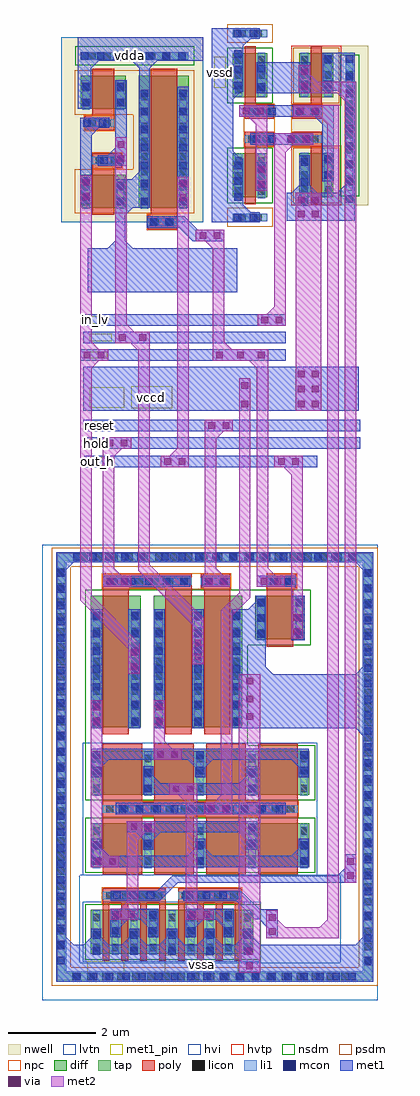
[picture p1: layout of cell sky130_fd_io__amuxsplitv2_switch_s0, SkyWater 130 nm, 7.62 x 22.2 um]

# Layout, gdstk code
from math import pi, radians
import gdstk
lib = gdstk.Library(unit=1e-6, precision=1e-09)
def R(c, l, rs):  # rectangles x0, y0, x1, y1
    for r in rs: c.add(gdstk.rectangle(r[:2], r[2:], *l))
def A(c, l, x, y, w, h, nx, ny, dx, dy):  # array of equal rectangles
    R(c, l, [(x+i*dx, y+j*dy, x+i*dx+w, y+j*dy+h) for i in range(nx) for j in range(ny)])
def P(c, l, *ps):  # polygons
    for p in ps: c.add(gdstk.Polygon(p, *l))
nwell = (64, 20)
diff = (65, 20)
tap = (65, 44)
poly = (66, 20)
licon = (66, 44)
li1 = (67, 20)
mcon = (67, 44)
met1_pin = (68, 16)
met1 = (68, 20)
via = (68, 44)
met2 = (69, 20)
hvi = (75, 20)
hvtp = (78, 44)
nsdm = (93, 44)
psdm = (94, 20)
npc = (95, 20)
lvtn = (125, 44)

dfl1sd_cdns_559591418081 = lib.new_cell('DFL1sd_CDNS_5595914180819')
R(dfl1sd_cdns_559591418081, diff, [(0,0,0.265,3)])
A(dfl1sd_cdns_559591418081, licon, 0.055, 0.06, 0.17, 0.17, 1, 8, 0, 0.34)
R(dfl1sd_cdns_559591418081, li1, [(0.055,-0.02,0.225,2.69)])
R(dfl1sd_cdns_559591418081, nsdm, [(-0.13,-0.13,0.395,3.13)])

nfet_cdns_5595914180818 = lib.new_cell('nfet_CDNS_5595914180818')
R(nfet_cdns_5595914180818, diff, [(-0.25,0,0,3), (0,0,0.6,3), (0.6,0,0.85,3)])
R(nfet_cdns_5595914180818, poly, [(0,-0.16,0.6,3.16), (0,-0.16,0.6,0), (0,3,0.6,3.16)])
R(nfet_cdns_5595914180818, li1, [(-0.225,-0.02,-0.055,2.69), (0.655,-0.02,0.825,2.69)])
R(nfet_cdns_5595914180818, hvi, [(-0.445,-0.18,1.045,3.18)])
R(nfet_cdns_5595914180818, nsdm, [(-0.25,-0.13,0.85,3.13)])
nfet_cdns_5595914180818.add(gdstk.Reference(dfl1sd_cdns_559591418081, (0.6,0)))
nfet_cdns_5595914180818.add(gdstk.Reference(dfl1sd_cdns_559591418081, (0,0), rotation=pi, x_reflection=True))
nfet_cdns_5595914180818.add(gdstk.Label('D', (0.74,1.335), layer=83, texttype=44))
nfet_cdns_5595914180818.add(gdstk.Label('S', (-0.14,1.335), layer=83, texttype=44))

c_dfl1sd_cdns_559591418081 = lib.new_cell('DFL1sd_CDNS_5595914180815')
R(c_dfl1sd_cdns_559591418081, diff, [(0,0,0.265,1)])
A(c_dfl1sd_cdns_559591418081, licon, 0.055, 0.06, 0.17, 0.17, 1, 3, 0, 0.34)
R(c_dfl1sd_cdns_559591418081, li1, [(0.055,-0.02,0.225,0.99)])
R(c_dfl1sd_cdns_559591418081, nsdm, [(-0.13,-0.13,0.395,1.13)])

dfl1sd2_cdns_55959141808 = lib.new_cell('DFL1sd2_CDNS_5595914180816')
R(dfl1sd2_cdns_55959141808, diff, [(0,0,0.28,1)])
A(dfl1sd2_cdns_55959141808, licon, 0.055, 0.06, 0.17, 0.17, 1, 3, 0, 0.34)
R(dfl1sd2_cdns_55959141808, li1, [(0.055,-0.02,0.225,0.99)])
R(dfl1sd2_cdns_55959141808, nsdm, [(-0.13,-0.13,0.41,1.13)])

nfet_cdns_5595914180820 = lib.new_cell('nfet_CDNS_5595914180820')
A(nfet_cdns_5595914180820, diff, 0, 0, 0.9, 1, 4, 1, 1.18, 0)
R(nfet_cdns_5595914180820, diff, [(-0.25,0,0,1), (4.44,0,4.69,1)])
A(nfet_cdns_5595914180820, poly, 0, -0.16, 0.9, 1.32, 4, 1, 1.18, 0)
A(nfet_cdns_5595914180820, poly, 0, -0.16, 0.9, 0.16, 4, 2, 1.18, 1.16)
A(nfet_cdns_5595914180820, li1, -0.225, -0.02, 0.17, 1.01, 5, 1, 1.18, 0)
R(nfet_cdns_5595914180820, hvi, [(-0.445,-0.18,4.885,1.18)])
A(nfet_cdns_5595914180820, nsdm, -0.25, -0.13, 1.15, 1.26, 3, 1, 1.18, 0)
R(nfet_cdns_5595914180820, nsdm, [(3.29,-0.13,4.69,1.13)])
R(nfet_cdns_5595914180820, lvtn, [(-0.445,-0.18,4.885,1.18)])
nfet_cdns_5595914180820.add(gdstk.Reference(c_dfl1sd_cdns_559591418081, (4.44,0)))
nfet_cdns_5595914180820.add(gdstk.Reference(c_dfl1sd_cdns_559591418081, (0,0), rotation=pi, x_reflection=True))
nfet_cdns_5595914180820.add(gdstk.Reference(dfl1sd2_cdns_55959141808, (3.26,0)))
nfet_cdns_5595914180820.add(gdstk.Reference(dfl1sd2_cdns_55959141808, (2.08,0)))
nfet_cdns_5595914180820.add(gdstk.Reference(dfl1sd2_cdns_55959141808, (0.9,0)))
nfet_cdns_5595914180820.add(gdstk.Label('S', (4.58,0.485), layer=83, texttype=44))
nfet_cdns_5595914180820.add(gdstk.Label('D', (3.4,0.485), layer=83, texttype=44))
nfet_cdns_5595914180820.add(gdstk.Label('S', (2.22,0.485), layer=83, texttype=44))
nfet_cdns_5595914180820.add(gdstk.Label('D', (1.04,0.485), layer=83, texttype=44))
nfet_cdns_5595914180820.add(gdstk.Label('S', (-0.14,0.485), layer=83, texttype=44))

nfet_cdns_5595914180821 = lib.new_cell('nfet_CDNS_5595914180821')
A(nfet_cdns_5595914180821, diff, 0, 0, 0.15, 1, 4, 1, 0.43, 0)
R(nfet_cdns_5595914180821, diff, [(-0.25,0,0,1), (1.44,0,1.69,1)])
A(nfet_cdns_5595914180821, poly, 0, -0.16, 0.15, 1.32, 4, 1, 0.43, 0)
A(nfet_cdns_5595914180821, poly, 0, -0.16, 0.15, 0.16, 4, 2, 0.43, 1.16)
A(nfet_cdns_5595914180821, li1, -0.225, -0.02, 0.17, 1.01, 5, 1, 0.43, 0)
A(nfet_cdns_5595914180821, nsdm, -0.25, -0.13, 0.4, 1.26, 3, 1, 0.43, 0)
R(nfet_cdns_5595914180821, nsdm, [(1.04,-0.13,1.69,1.13)])
R(nfet_cdns_5595914180821, lvtn, [(-0.445,-0.18,1.885,1.18)])
nfet_cdns_5595914180821.add(gdstk.Reference(c_dfl1sd_cdns_559591418081, (1.44,0)))
nfet_cdns_5595914180821.add(gdstk.Reference(c_dfl1sd_cdns_559591418081, (0,0), rotation=pi, x_reflection=True))
nfet_cdns_5595914180821.add(gdstk.Reference(dfl1sd2_cdns_55959141808, (1.01,0)))
nfet_cdns_5595914180821.add(gdstk.Reference(dfl1sd2_cdns_55959141808, (0.58,0)))
nfet_cdns_5595914180821.add(gdstk.Reference(dfl1sd2_cdns_55959141808, (0.15,0)))
nfet_cdns_5595914180821.add(gdstk.Label('S', (1.58,0.485), layer=83, texttype=44))
nfet_cdns_5595914180821.add(gdstk.Label('D', (1.15,0.485), layer=83, texttype=44))
nfet_cdns_5595914180821.add(gdstk.Label('S', (0.72,0.485), layer=83, texttype=44))
nfet_cdns_5595914180821.add(gdstk.Label('D', (0.29,0.485), layer=83, texttype=44))
nfet_cdns_5595914180821.add(gdstk.Label('S', (-0.14,0.485), layer=83, texttype=44))

dfl1sd_cdns_559591418082 = lib.new_cell('DFL1sd_CDNS_5595914180823')
R(dfl1sd_cdns_559591418082, nwell, [(-0.18,-0.18,0.445,0.93)])
R(dfl1sd_cdns_559591418082, diff, [(0,0,0.265,0.75)])
R(dfl1sd_cdns_559591418082, licon, [(0.055,0.06,0.225,0.23), (0.055,0.4,0.225,0.57)])
R(dfl1sd_cdns_559591418082, li1, [(0.055,-0.02,0.225,0.65)])
R(dfl1sd_cdns_559591418082, psdm, [(-0.13,-0.13,0.395,0.88)])

pfet_cdns_5595914180822 = lib.new_cell('pfet_CDNS_5595914180822')
R(pfet_cdns_5595914180822, nwell, [(-0.595,-0.33,1.095,1.08), (-0.445,-0.18,0.945,0.93)])
R(pfet_cdns_5595914180822, diff, [(-0.25,0,0,0.75), (0,0,0.5,0.75), (0.5,0,0.75,0.75)])
R(pfet_cdns_5595914180822, poly, [(0,-0.16,0.5,0.91), (0,-0.16,0.5,0), (0,0.75,0.5,0.91)])
R(pfet_cdns_5595914180822, li1, [(-0.225,-0.02,-0.055,0.65), (0.555,-0.02,0.725,0.65)])
R(pfet_cdns_5595914180822, hvi, [(-0.595,-0.33,1.095,1.08)])
R(pfet_cdns_5595914180822, psdm, [(-0.25,-0.13,0.75,0.88)])
pfet_cdns_5595914180822.add(gdstk.Reference(dfl1sd_cdns_559591418082, (0.5,0)))
pfet_cdns_5595914180822.add(gdstk.Reference(dfl1sd_cdns_559591418082, (0,0), rotation=pi, x_reflection=True))
pfet_cdns_5595914180822.add(gdstk.Label('D', (0.64,0.315), layer=83, texttype=44))
pfet_cdns_5595914180822.add(gdstk.Label('S', (-0.14,0.315), layer=83, texttype=44))

sky130_fd_io__amuxsplitv = lib.new_cell('sky130_fd_io__amuxsplitv2_switch_levelshifter1')
R(sky130_fd_io__amuxsplitv, nwell, [(0.185,17.44,3.305,21.645), (0.185,20.805,3.305,21.645)])
R(sky130_fd_io__amuxsplitv, tap, [(0.52,21.14,2.97,21.31)])
P(sky130_fd_io__amuxsplitv, tap, [(-0.01,0.5),(-0.01,0.2),(7.14,0.2),(7.14,9.91),(-0.01,9.91),(-0.01,0.5),(0.16,0.5),(0.16,9.74),(6.97,9.74),(6.97,0.37),(0.16,0.37),(0.16,0.5)])
R(sky130_fd_io__amuxsplitv, poly, [(1.015,1.96,2.455,2.29), (2.735,1.96,4.175,2.29), (1.015,3.93,5.455,4.26), (1.015,9.11,3.045,9.44), (3.255,9.11,3.925,9.44), (0.78,18.68,1.45,19.01), (0.61,19.53,1.28,19.86)])
A(sky130_fd_io__amuxsplitv, licon, 0.33, 0.2, 0.17, 0.17, 19, 1, 0.34, 0)
A(sky130_fd_io__amuxsplitv, licon, 6.97, 0.54, 0.17, 0.17, 1, 27, 0, 0.34)
A(sky130_fd_io__amuxsplitv, licon, -0.01, 0.9, 0.17, 0.17, 1, 26, 0, 0.34)
A(sky130_fd_io__amuxsplitv, licon, 1.095, 2.04, 0.17, 0.17, 4, 1, 0.37, 0)
A(sky130_fd_io__amuxsplitv, licon, 2.815, 2.04, 0.17, 0.17, 4, 1, 0.37, 0)
A(sky130_fd_io__amuxsplitv, licon, 1.095, 4.01, 0.17, 0.17, 7, 1, 0.34, 0)
A(sky130_fd_io__amuxsplitv, licon, 3.48, 4.01, 0.17, 0.17, 6, 1, 0.345, 0)
A(sky130_fd_io__amuxsplitv, licon, 1.095, 9.19, 0.17, 0.17, 6, 1, 0.34, 0)
A(sky130_fd_io__amuxsplitv, licon, 0.51, 9.74, 0.17, 0.17, 19, 1, 0.34, 0)
A(sky130_fd_io__amuxsplitv, licon, 0.69, 21.14, 0.17, 0.17, 6, 1, 0.34, 0)
R(sky130_fd_io__amuxsplitv, licon, [(3.335,9.19,3.505,9.36), (3.675,9.19,3.845,9.36), (0.86,18.76,1.03,18.93), (1.2,18.76,1.37,18.93), (0.69,19.61,0.86,19.78), (1.03,19.61,1.2,19.78)])
A(sky130_fd_io__amuxsplitv, li1, 0.79, 0.78, 0.17, 0.53, 5, 1, 0.86, 0)
A(sky130_fd_io__amuxsplitv, li1, 1.22, 1.24, 0.17, 0.53, 4, 1, 0.86, 0)
A(sky130_fd_io__amuxsplitv, li1, 0.79, 2.83, 0.17, 0.53, 3, 2, 2.36, 2.05)
R(sky130_fd_io__amuxsplitv, li1, [(1.015,2.04,2.455,2.21), (1.26,2.04,2.19,2.21), (2.735,2.04,4.175,2.21), (2.91,2.04,3.84,2.21), (1.97,3.23,2.14,3.76), (4.33,3.23,4.5,3.76), (1.015,4.01,5.455,4.18), (1.38,4.01,5.125,4.18), (1.97,4.48,2.14,5.01), (4.33,4.48,4.5,5.01), (0.79,5.99,0.96,8.58), (1.67,5.99,1.84,8.58), (2.22,5.99,2.39,8.58), (3.1,5.99,3.27,8.58), (3.1,5.99,3.27,8.58), (3.98,5.99,4.15,8.58), (1.015,9.19,3.045,9.36), (1.19,9.19,2.955,9.36), (3.255,9.19,3.925,9.36), (3.335,9.19,3.865,9.36), (1.335,17.83,1.505,18.36), (0.555,17.93,0.725,18.46), (0.78,18.76,1.45,18.93), (0.965,18.76,1.495,18.93), (0.61,19.61,1.28,19.78), (0.575,19.615,1.105,19.785), (0.555,20.08,0.725,20.61), (1.335,20.08,1.505,20.61), (0.52,21.14,2.97,21.31), (0.52,21.14,2.91,21.31)])
P(sky130_fd_io__amuxsplitv, li1, [(2.17,9.94),(-0.04,9.94),(-0.04,0.17),(7.17,0.17),(7.17,1.945),(6.94,1.945),(6.94,0.4),(0.19,0.4),(0.19,9.71),(2.17,9.71)],
  [(-0.01,0.5),(-0.01,0.2),(7.14,0.2),(7.14,9.91),(-0.01,9.91),(-0.01,0.5),(0.16,0.5),(0.16,9.74),(6.97,9.74),(6.97,0.37),(0.16,0.37),(0.16,0.5)],
  [(7.17,1.945),(7.17,9.94),(2.165,9.94),(2.165,9.71),(6.94,9.71),(6.94,1.945)])
A(sky130_fd_io__amuxsplitv, mcon, 0.35, 0.2, 0.17, 0.17, 11, 1, 0.37, 0)
A(sky130_fd_io__amuxsplitv, mcon, 4.415, 0.2, 0.17, 0.17, 7, 1, 0.365, 0)
A(sky130_fd_io__amuxsplitv, mcon, -0.01, 0.565, 0.17, 0.17, 1, 14, 0, 0.365)
A(sky130_fd_io__amuxsplitv, mcon, 0.79, 0.78, 0.17, 0.17, 5, 2, 0.86, 0.36)
A(sky130_fd_io__amuxsplitv, mcon, 1.22, 1.24, 0.17, 0.17, 4, 2, 0.86, 0.36)
A(sky130_fd_io__amuxsplitv, mcon, 1.26, 2.04, 0.17, 0.17, 3, 1, 0.38, 0)
A(sky130_fd_io__amuxsplitv, mcon, 2.91, 2.04, 0.17, 0.17, 3, 1, 0.38, 0)
A(sky130_fd_io__amuxsplitv, mcon, 6.97, 2.135, 0.17, 0.17, 1, 10, 0, 0.365)
A(sky130_fd_io__amuxsplitv, mcon, 0.79, 2.83, 0.17, 0.17, 3, 2, 2.36, 0.36)
A(sky130_fd_io__amuxsplitv, mcon, 1.38, 4.01, 0.17, 0.17, 6, 1, 0.395, 0)
A(sky130_fd_io__amuxsplitv, mcon, 3.755, 4.01, 0.17, 0.17, 4, 1, 0.4, 0)
A(sky130_fd_io__amuxsplitv, mcon, 0.79, 4.88, 0.17, 0.17, 3, 2, 2.36, 0.36)
A(sky130_fd_io__amuxsplitv, mcon, -0.01, 5.68, 0.17, 0.17, 1, 11, 0, 0.37)
A(sky130_fd_io__amuxsplitv, mcon, 6.97, 5.78, 0.17, 0.17, 1, 11, 0, 0.36)
A(sky130_fd_io__amuxsplitv, mcon, 0.79, 5.99, 0.17, 0.17, 1, 3, 0, 0.4)
A(sky130_fd_io__amuxsplitv, mcon, 1.67, 5.99, 0.17, 0.17, 1, 3, 0, 0.4)
A(sky130_fd_io__amuxsplitv, mcon, 2.22, 5.99, 0.17, 0.17, 1, 3, 0, 0.4)
A(sky130_fd_io__amuxsplitv, mcon, 3.98, 5.99, 0.17, 0.17, 1, 3, 0, 0.4)
A(sky130_fd_io__amuxsplitv, mcon, 0.79, 7.195, 0.17, 0.17, 1, 4, 0, 0.405)
A(sky130_fd_io__amuxsplitv, mcon, 1.67, 7.195, 0.17, 0.17, 1, 4, 0, 0.405)
A(sky130_fd_io__amuxsplitv, mcon, 2.22, 7.195, 0.17, 0.17, 1, 4, 0, 0.405)
A(sky130_fd_io__amuxsplitv, mcon, 3.98, 7.195, 0.17, 0.17, 1, 4, 0, 0.405)
A(sky130_fd_io__amuxsplitv, mcon, 1.585, 9.19, 0.17, 0.17, 4, 1, 0.4, 0)
A(sky130_fd_io__amuxsplitv, mcon, 0.35, 9.74, 0.17, 0.17, 5, 1, 0.365, 0)
A(sky130_fd_io__amuxsplitv, mcon, 2.355, 9.74, 0.17, 0.17, 8, 1, 0.385, 0)
A(sky130_fd_io__amuxsplitv, mcon, 5.44, 9.74, 0.17, 0.17, 4, 1, 0.39, 0)
A(sky130_fd_io__amuxsplitv, mcon, 0.52, 21.14, 0.17, 0.17, 7, 1, 0.37, 0)
R(sky130_fd_io__amuxsplitv, mcon, [(6.97,0.56,7.14,0.73), (6.97,1.075,7.14,1.245), (6.97,1.585,7.14,1.755), (1.97,3.23,2.14,3.4), (4.33,3.23,4.5,3.4), (1.97,3.59,2.14,3.76), (4.33,3.59,4.5,3.76), (1.97,4.48,2.14,4.65), (4.33,4.48,4.5,4.65), (1.97,4.84,2.14,5.01), (4.33,4.84,4.5,5.01), (3.1,5.99,3.27,6.16), (3.1,5.99,3.27,6.16), (3.1,6.39,3.27,6.56), (3.1,6.39,3.27,6.56), (3.1,6.79,3.27,6.96), (3.1,6.79,3.27,6.96), (3.1,7.195,3.27,7.365), (3.1,7.195,3.27,7.365), (3.1,7.6,3.27,7.77), (3.1,7.6,3.27,7.77), (3.1,8.005,3.27,8.175), (3.1,8.005,3.27,8.175), (3.1,8.41,3.27,8.58), (3.1,8.41,3.27,8.58), (1.19,9.19,1.36,9.36), (3.335,9.19,3.505,9.36), (3.695,9.19,3.865,9.36), (1.335,17.83,1.505,18), (0.555,17.93,0.725,18.1), (1.335,18.19,1.505,18.36), (0.555,18.29,0.725,18.46), (0.965,18.76,1.135,18.93), (1.325,18.76,1.495,18.93), (0.575,19.615,0.745,19.785), (0.935,19.615,1.105,19.785), (0.555,20.08,0.725,20.25), (1.335,20.08,1.505,20.25), (0.555,20.44,0.725,20.61), (1.335,20.44,1.505,20.61)])
R(sky130_fd_io__amuxsplitv, met1_pin, [(0.665,0.335,1.505,0.635), (3.185,2.06,3.66,2.185), (1.39,2.065,1.965,2.2), (0.715,12.32,1.035,12.505), (0.73,12.735,1.185,12.905), (0.73,13.22,1.505,13.69), (0.72,14.35,1.125,14.5), (0.72,14.735,1.22,14.9), (0.675,21.17,1.14,21.295)])
A(sky130_fd_io__amuxsplitv, met1, 0.76, 0.72, 0.23, 0.65, 5, 1, 0.86, 0)
A(sky130_fd_io__amuxsplitv, met1, 1.19, 1.18, 0.23, 0.65, 4, 1, 0.86, 0)
A(sky130_fd_io__amuxsplitv, met1, 0.76, 2.77, 0.23, 0.65, 3, 2, 2.36, 2.05)
R(sky130_fd_io__amuxsplitv, met1, [(0.17,0.17,7.17,1.01), (1.19,1.57,1.83,1.83), (2.91,1.57,3.55,1.83), (1.2,2.01,2.25,2.24), (2.85,2.01,3.9,2.24), (0.76,2.77,1.4,3.03), (1.94,3.17,2.17,3.82), (4.3,3.17,4.53,3.82), (1.57,3.56,2.21,3.82), (1.32,3.975,5.185,4.235), (3.33,3.975,3.97,4.235), (1.32,3.98,5.185,4.21), (1.94,4.42,2.17,5.07), (2.53,4.42,3.17,4.68), (4.3,4.42,4.53,5.07), (2.175,5.21,2.815,5.47), (0.745,5.93,1.005,6.57), (0.76,5.93,0.99,8.64), (1.605,5.93,1.87,8.64), (1.64,5.93,1.87,8.64), (2.175,5.93,2.435,6.57), (2.19,5.93,2.42,8.64), (3.055,5.93,3.315,8.64), (3.07,5.93,3.3,8.64), (3.07,5.93,3.3,8.64), (3.95,5.93,4.18,8.64), (4.115,5.93,6.97,7.165), (0.745,6.445,1.005,8.64), (2.175,6.445,2.435,8.64), (1.605,7.175,1.865,7.815), (3.055,7.39,3.315,8.03), (1.025,9.145,1.665,9.405), (1.205,9.145,3.015,9.405), (3.275,9.145,3.925,9.405), (3.285,9.145,3.925,9.405), (1.13,9.16,3.015,9.39), (3.275,9.16,3.925,9.39), (0.58,12.29,5.185,12.55), (1.025,12.29,1.665,12.55), (0.58,12.69,5.185,12.95), (3.34,12.69,3.98,12.95), (0.58,13.15,5.185,14.15), (4.12,13.15,4.38,13.89), (0.505,14.29,1.145,14.55), (0.505,14.29,5.185,14.55), (0.58,14.69,5.185,14.95), (1.305,14.69,2.09,14.95), (0.685,15.845,4.085,16.845), (1.305,16.485,1.535,17.81), (1.305,17.77,1.535,18.42), (0.505,17.865,0.765,18.505), (0.525,17.87,0.755,18.52), (0.905,18.73,1.555,18.96), (1.305,18.73,1.565,19.37), (0.515,19.585,1.165,19.815), (0.525,20.02,0.755,20.67), (1.305,20.02,1.535,20.67), (0.46,21.11,2.97,21.34)])
P(sky130_fd_io__amuxsplitv, met1, [(7.17,1.945),(7.17,9.94),(2.165,9.94),(2.165,9.71),(6.94,9.71),(6.94,1.945)],
  [(4.53,2.58),(2.6,2.58),(2.26,2.24),(1.2,2.24),(1.2,2.01),(2.32,2.01),(2.73,2.42),(4.53,2.42)],
  [(6.94,5.93),(6.94,5.76),(6.77,5.93)],
  [(1.535,16.845),(1.535,17.015),(1.705,16.845)],
  [(1.305,16.845),(1.305,17.015),(1.135,16.845)],
  [(0.19,1.01),(0.19,1.18),(0.36,1.01)],
  [(0.76,1.01),(0.76,1.18),(0.59,1.01)],
  [(0.99,1.01),(0.99,1.18),(1.16,1.01)],
  [(1.62,1.01),(1.62,1.18),(1.45,1.01)],
  [(1.85,1.01),(1.85,1.18),(2.02,1.01)],
  [(2.48,1.01),(2.48,1.18),(2.31,1.01)],
  [(2.71,1.01),(2.71,1.18),(2.88,1.01)],
  [(3.34,1.01),(3.34,1.18),(3.17,1.01)],
  [(3.57,1.01),(3.57,1.18),(3.74,1.01)],
  [(4.2,1.01),(4.2,1.18),(4.03,1.01)],
  [(4.43,1.01),(4.43,1.18),(4.6,1.01)],
  [(6.94,1.01),(6.94,1.18),(6.77,1.01)],
  [(1.94,3.56),(1.94,3.39),(1.77,3.56)],
  [(4.18,7.165),(4.18,7.335),(4.35,7.165)],
  [(6.94,7.165),(6.94,7.335),(6.77,7.165)],
  [(6.94,9.71),(6.94,9.54),(6.77,9.71)],
  [(0.19,9.71),(0.19,9.54),(0.36,9.71)],
  [(0.925,21.11),(0.755,21.11),(0.755,21.34),(0.455,21.34),(0.455,20.02),(0.755,20.02),(0.755,20.94)],
  [(4.385,4.68),(4.3,4.68),(4.3,4.85),(4.13,4.68),(2.34,4.68),(2.17,4.85),(2.17,4.68),(1.94,4.68),(1.94,4.42),(4.385,4.42)],
  [(0.935,19.585),(0.765,19.585),(0.765,19.815),(0.505,19.815),(0.505,18.055),(0.765,18.055),(0.765,19.415)],
  [(1.565,20.67),(1.305,20.67),(1.305,19.13),(1.135,18.96),(1.305,18.96),(1.305,18.73),(1.565,18.73)],
  [(3.795,1.83),(2.91,1.83),(2.91,1.57),(3.14,1.57),(3.14,1.4),(3.31,1.57),(3.6,1.57),(3.77,1.4),(3.77,1.57),(3.795,1.57)],
  [(2.075,1.83),(1.19,1.83),(1.19,1.57),(1.42,1.57),(1.42,1.4),(1.59,1.57),(1.88,1.57),(2.05,1.4),(2.05,1.57),(2.075,1.57)],
  [(4.385,3.82),(1.94,3.82),(1.94,3.56),(2.17,3.56),(2.17,3.39),(2.34,3.56),(4.13,3.56),(4.3,3.39),(4.3,3.56),(4.385,3.56)],
  [(5.535,3.03),(5.48,3.03),(5.48,3.2),(5.31,3.03),(3.52,3.03),(3.35,3.2),(3.35,3.03),(3.12,3.03),(3.12,3.2),(2.95,3.03),(1.16,3.03),(0.99,3.2),(0.99,3.03),(0.76,3.03),(0.76,2.77),(5.535,2.77)],
  [(5.535,5.47),(0.76,5.47),(0.76,5.21),(0.99,5.21),(0.99,5.04),(1.16,5.21),(2.95,5.21),(3.12,5.04),(3.12,5.21),(3.35,5.21),(3.35,5.04),(3.52,5.21),(5.31,5.21),(5.48,5.04),(5.48,5.21),(5.535,5.21)],
  [(2.17,9.94),(-0.04,9.94),(-0.04,0.17),(7.17,0.17),(7.17,1.945),(6.94,1.945),(6.94,0.4),(0.19,0.4),(0.19,9.71),(2.17,9.71)])
R(sky130_fd_io__amuxsplitv, via, [(1.275,1.625,1.425,1.775), (1.595,1.625,1.745,1.775), (2.995,1.625,3.145,1.775), (3.315,1.625,3.465,1.775), (0.845,2.825,0.995,2.975), (1.165,2.825,1.315,2.975), (1.655,3.615,1.805,3.765), (1.975,3.615,2.125,3.765), (3.415,4.03,3.565,4.18), (3.735,4.03,3.885,4.18), (2.615,4.475,2.765,4.625), (2.935,4.475,3.085,4.625), (2.26,5.265,2.41,5.415), (2.58,5.265,2.73,5.415), (0.8,6.015,0.95,6.165), (2.23,6.015,2.38,6.165), (0.8,6.335,0.95,6.485), (2.23,6.335,2.38,6.485), (1.66,7.26,1.81,7.41), (3.11,7.475,3.26,7.625), (1.66,7.58,1.81,7.73), (3.11,7.795,3.26,7.945), (1.11,9.2,1.26,9.35), (1.43,9.2,1.58,9.35), (3.37,9.2,3.52,9.35), (3.69,9.2,3.84,9.35), (1.11,12.345,1.26,12.495), (1.43,12.345,1.58,12.495), (3.425,12.745,3.575,12.895), (3.745,12.745,3.895,12.895), (4.175,13.235,4.325,13.385), (4.175,13.655,4.325,13.805), (0.59,14.345,0.74,14.495), (0.91,14.345,1.06,14.495), (1.39,14.745,1.54,14.895), (1.855,14.745,2.005,14.895), (0.56,17.95,0.71,18.1), (0.56,18.27,0.71,18.42), (1.36,18.815,1.51,18.965), (1.36,19.135,1.51,19.285)])
R(sky130_fd_io__amuxsplitv, met2, [(1.19,1.57,1.83,1.83), (2.91,1.57,3.55,1.83), (0.745,2.77,1.005,5.96), (0.76,2.77,1.4,3.03), (1.57,3.56,2.21,3.82), (3.33,3.975,3.97,4.235), (3.71,4.22,3.97,8.35), (2.53,4.42,3.17,4.68), (2.175,5.21,2.815,5.47), (2.175,5.21,2.435,5.96), (0.745,5.93,1.005,6.57), (2.175,5.93,2.435,6.57), (1.605,7.175,1.865,7.815), (3.055,7.39,3.315,8.03), (3.055,8.005,3.315,8.14), (1.025,9.145,1.285,12.55), (1.025,9.145,1.665,9.405), (3.285,9.145,3.925,9.405), (3.34,9.395,3.6,12.95), (1.025,12.29,1.665,12.55), (3.34,12.69,3.98,12.95), (4.12,13.15,4.38,13.89), (0.505,14.29,1.145,14.55), (1.305,14.69,2.09,14.95), (1.305,14.69,1.565,19.15), (0.505,17.865,0.765,18.505), (1.305,18.73,1.565,19.37)])
P(sky130_fd_io__amuxsplitv, met2, [(3.97,8.35),(3.97,8.495),(4.38,8.905),(4.38,13.89),(4.12,13.89),(4.12,9.015),(3.71,8.605),(3.71,8.35)],
  [(1.005,3.03),(1.005,3.2),(1.175,3.03)],
  [(1.83,3.56),(1.83,3.39),(2,3.56)],
  [(2.91,4.42),(2.91,4.25),(2.74,4.42)],
  [(2.435,5.47),(2.435,5.64),(2.605,5.47)],
  [(3.71,4.235),(3.71,4.405),(3.54,4.235)],
  [(3.6,9.405),(3.6,9.575),(3.77,9.405)],
  [(3.34,9.405),(3.34,9.46),(3.285,9.405)],
  [(1.285,9.405),(1.285,9.575),(1.455,9.405)],
  [(3.6,12.69),(3.6,12.52),(3.77,12.69)],
  [(1.285,12.29),(1.285,12.12),(1.455,12.29)],
  [(0.765,14.55),(0.765,14.72),(0.935,14.55)],
  [(0.765,14.29),(0.765,14.12),(0.935,14.29)],
  [(1.565,14.95),(1.565,15.12),(1.735,14.95)],
  [(1.83,14.69),(1.83,14.52),(1.66,14.69)],
  [(1.865,7.855),(0.765,8.955),(0.765,18.14),(0.505,18.14),(0.505,8.845),(1.605,7.745),(1.605,7.43),(1.865,7.43)],
  [(3.34,1.8),(3.17,1.97),(3.17,4.68),(2.91,4.68),(2.91,1.78),(3.17,1.78),(3.17,1.8)],
  [(1.83,3.77),(1.57,3.77),(1.57,1.97),(1.4,1.8),(1.57,1.8),(1.57,1.78),(1.83,1.78)],
  [(3.315,8.43),(2.09,9.655),(2.09,14.95),(1.83,14.95),(1.83,9.51),(3.055,8.285),(3.055,8.14),(3.315,8.14)])
R(sky130_fd_io__amuxsplitv, hvi, [(0.185,17.44,3.305,21.645)])
P(sky130_fd_io__amuxsplitv, hvi, [(7.27,10.11),(6.42,10.11),(6.42,0.6),(0.5,0.6),(0.5,2.59),(6.42,2.59),(6.42,10.11),(-0.35,10.11),(-0.35,-0.25),(7.27,-0.25)])
R(sky130_fd_io__amuxsplitv, nsdm, [(0.62,5.55,4.32,5.825), (1.995,5.82,2.065,9.08), (0.39,21.01,3.1,21.44)])
R(sky130_fd_io__amuxsplitv, psdm, [(1.655,17.64,1.73,18.65), (1.655,19.89,1.725,20.9)])
P(sky130_fd_io__amuxsplitv, psdm, [(-0.14,0.5),(-0.14,0.07),(7.27,0.07),(7.27,10.04),(-0.14,10.04),(-0.14,0.5),(0.29,0.5),(0.29,9.61),(6.84,9.61),(6.84,0.5)])
R(sky130_fd_io__amuxsplitv, npc, [(0.995,1.94,2.475,2.31), (2.405,1.94,2.74,2.31), (2.715,1.94,4.195,2.31), (0.995,3.91,5.475,4.28), (0.995,9.09,3.065,9.46), (3.05,9.09,3.25,9.46), (3.235,9.09,3.945,9.46), (0.76,18.66,1.47,19.03), (0.59,19.51,1.3,19.88)])
R(sky130_fd_io__amuxsplitv, lvtn, [(0.57,3.915,5.9,4.255)])
sky130_fd_io__amuxsplitv.add(gdstk.Reference(nfet_cdns_5595914180818, (1.015,5.95)))
sky130_fd_io__amuxsplitv.add(gdstk.Reference(nfet_cdns_5595914180818, (2.445,5.95)))
sky130_fd_io__amuxsplitv.add(gdstk.Reference(nfet_cdns_5595914180818, (3.325,5.95)))
sky130_fd_io__amuxsplitv.add(gdstk.Reference(nfet_cdns_5595914180820, (5.455,2.77), rotation=pi, x_reflection=True))
sky130_fd_io__amuxsplitv.add(gdstk.Reference(nfet_cdns_5595914180820, (5.455,4.42), rotation=pi, x_reflection=True))
sky130_fd_io__amuxsplitv.add(gdstk.Reference(nfet_cdns_5595914180821, (4.175,0.8), rotation=pi, x_reflection=True))
sky130_fd_io__amuxsplitv.add(gdstk.Reference(nfet_cdns_5595914180821, (2.455,0.8), rotation=pi, x_reflection=True))
sky130_fd_io__amuxsplitv.add(gdstk.Reference(pfet_cdns_5595914180822, (0.78,17.77)))
sky130_fd_io__amuxsplitv.add(gdstk.Reference(pfet_cdns_5595914180822, (0.78,20.02)))
sky130_fd_io__amuxsplitv.add(gdstk.Label('vpwr_lv', (1.12,13.455), layer=68, texttype=5))
sky130_fd_io__amuxsplitv.add(gdstk.Label('vpwr_hv', (0.91,21.235), layer=68, texttype=5))
sky130_fd_io__amuxsplitv.add(gdstk.Label('fbk_n', (0.925,14.425), layer=68, texttype=5))
sky130_fd_io__amuxsplitv.add(gdstk.Label('fbk', (0.97,14.82), layer=68, texttype=5))
sky130_fd_io__amuxsplitv.add(gdstk.Label('reset', (0.96,12.82), layer=68, texttype=5))
sky130_fd_io__amuxsplitv.add(gdstk.Label('hold', (0.875,12.415), layer=68, texttype=5))
sky130_fd_io__amuxsplitv.add(gdstk.Label('switch_lv_n', (3.425,2.125), layer=68, texttype=5))
sky130_fd_io__amuxsplitv.add(gdstk.Label('switch_lv', (1.675,2.135), layer=68, texttype=5))
sky130_fd_io__amuxsplitv.add(gdstk.Label('vgnd', (1.085,0.485), layer=68, texttype=5))

dfl1sd_cdns_559591418086 = lib.new_cell('DFL1sd_CDNS_559591418086')
R(dfl1sd_cdns_559591418086, nwell, [(-0.18,-0.18,0.445,1.18)])
R(dfl1sd_cdns_559591418086, diff, [(0,0,0.265,1)])
A(dfl1sd_cdns_559591418086, licon, 0.055, 0.06, 0.17, 0.17, 1, 3, 0, 0.34)
R(dfl1sd_cdns_559591418086, li1, [(0.055,-0.02,0.225,0.99)])
R(dfl1sd_cdns_559591418086, psdm, [(-0.13,-0.13,0.395,1.13)])

pfet_cdns_5595914180824 = lib.new_cell('pfet_CDNS_5595914180824')
R(pfet_cdns_5595914180824, nwell, [(-0.445,-0.18,0.695,1.18)])
A(pfet_cdns_5595914180824, diff, -0.25, 0, 0.25, 1, 3, 1, 0.25, 0)
R(pfet_cdns_5595914180824, poly, [(0,-0.16,0.25,1.16), (0,-0.16,0.25,0), (0,1,0.25,1.16)])
R(pfet_cdns_5595914180824, li1, [(-0.225,-0.02,-0.055,0.99), (0.305,-0.02,0.475,0.99)])
R(pfet_cdns_5595914180824, hvtp, [(-0.445,-0.18,0.695,1.18)])
R(pfet_cdns_5595914180824, psdm, [(-0.25,-0.13,0.5,1.13)])
pfet_cdns_5595914180824.add(gdstk.Reference(dfl1sd_cdns_559591418086, (0.25,0)))
pfet_cdns_5595914180824.add(gdstk.Reference(dfl1sd_cdns_559591418086, (0,0), rotation=pi, x_reflection=True))
pfet_cdns_5595914180824.add(gdstk.Label('D', (0.39,0.485), layer=83, texttype=44))
pfet_cdns_5595914180824.add(gdstk.Label('S', (-0.14,0.485), layer=83, texttype=44))

c_dfl1sd_cdns_559591418081_ = lib.new_cell('DFL1sd_CDNS_5595914180811')
R(c_dfl1sd_cdns_559591418081_, nwell, [(-0.18,-0.18,0.445,3.18)])
R(c_dfl1sd_cdns_559591418081_, diff, [(0,0,0.265,3)])
A(c_dfl1sd_cdns_559591418081_, licon, 0.055, 0.06, 0.17, 0.17, 1, 8, 0, 0.34)
R(c_dfl1sd_cdns_559591418081_, li1, [(0.055,-0.02,0.225,2.69)])
R(c_dfl1sd_cdns_559591418081_, psdm, [(-0.13,-0.13,0.395,3.13)])

pfet_cdns_5595914180813 = lib.new_cell('pfet_CDNS_5595914180813')
R(pfet_cdns_5595914180813, nwell, [(-0.595,-0.33,1.195,3.33), (-0.445,-0.18,1.045,3.18)])
R(pfet_cdns_5595914180813, diff, [(-0.25,0,0,3), (0,0,0.6,3), (0.6,0,0.85,3)])
R(pfet_cdns_5595914180813, poly, [(0,-0.16,0.6,3.16), (0,-0.16,0.6,0), (0,3,0.6,3.16)])
R(pfet_cdns_5595914180813, li1, [(-0.225,-0.02,-0.055,2.69), (0.655,-0.02,0.825,2.69)])
R(pfet_cdns_5595914180813, hvi, [(-0.595,-0.33,1.195,3.33)])
R(pfet_cdns_5595914180813, psdm, [(-0.25,-0.13,0.85,3.13)])
pfet_cdns_5595914180813.add(gdstk.Reference(c_dfl1sd_cdns_559591418081_, (0.6,0)))
pfet_cdns_5595914180813.add(gdstk.Reference(c_dfl1sd_cdns_559591418081_, (0,0), rotation=pi, x_reflection=True))
pfet_cdns_5595914180813.add(gdstk.Label('D', (0.74,1.335), layer=83, texttype=44))
pfet_cdns_5595914180813.add(gdstk.Label('S', (-0.14,1.335), layer=83, texttype=44))

nfet_cdns_5595914180817 = lib.new_cell('nfet_CDNS_5595914180817')
R(nfet_cdns_5595914180817, diff, [(-0.25,0,0,1), (0,0,0.6,1), (0.6,0,0.85,1)])
R(nfet_cdns_5595914180817, poly, [(0,-0.16,0.6,1.16), (0,-0.16,0.6,0), (0,1,0.6,1.16)])
R(nfet_cdns_5595914180817, li1, [(-0.225,-0.02,-0.055,0.99), (0.655,-0.02,0.825,0.99)])
R(nfet_cdns_5595914180817, hvi, [(-0.445,-0.18,1.045,1.18)])
R(nfet_cdns_5595914180817, nsdm, [(-0.25,-0.13,0.85,1.13)])
nfet_cdns_5595914180817.add(gdstk.Reference(c_dfl1sd_cdns_559591418081, (0.6,0)))
nfet_cdns_5595914180817.add(gdstk.Reference(c_dfl1sd_cdns_559591418081, (0,0), rotation=pi, x_reflection=True))
nfet_cdns_5595914180817.add(gdstk.Label('D', (0.74,0.485), layer=83, texttype=44))
nfet_cdns_5595914180817.add(gdstk.Label('S', (-0.14,0.485), layer=83, texttype=44))

nfet_cdns_5595914180825 = lib.new_cell('nfet_CDNS_5595914180825')
A(nfet_cdns_5595914180825, diff, -0.25, 0, 0.25, 1, 3, 1, 0.25, 0)
R(nfet_cdns_5595914180825, poly, [(0,-0.16,0.25,1.16), (0,-0.16,0.25,0), (0,1,0.25,1.16)])
R(nfet_cdns_5595914180825, li1, [(-0.225,-0.02,-0.055,0.99), (0.305,-0.02,0.475,0.99)])
R(nfet_cdns_5595914180825, nsdm, [(-0.25,-0.13,0.5,1.13)])
nfet_cdns_5595914180825.add(gdstk.Reference(c_dfl1sd_cdns_559591418081, (0.25,0)))
nfet_cdns_5595914180825.add(gdstk.Reference(c_dfl1sd_cdns_559591418081, (0,0), rotation=pi, x_reflection=True))
nfet_cdns_5595914180825.add(gdstk.Label('D', (0.39,0.485), layer=83, texttype=44))
nfet_cdns_5595914180825.add(gdstk.Label('S', (-0.14,0.485), layer=83, texttype=44))

c_sky130_fd_io__amuxsplitv = lib.new_cell('sky130_fd_io__amuxsplitv2_switch_s0')
R(c_sky130_fd_io__amuxsplitv, nwell, [(0.175,17.44,0.285,21.645), (5.405,17.825,7.155,21.46), (6.315,17.825,7.155,21.46)])
R(c_sky130_fd_io__amuxsplitv, tap, [(4.08,17.465,4.86,17.635), (6.65,18.16,6.82,21.125), (4.08,21.65,4.86,21.82)])
R(c_sky130_fd_io__amuxsplitv, poly, [(4.855,9.11,5.525,9.44), (2.14,17.28,2.81,17.61), (4.345,19.165,5.015,19.495), (5.43,19.165,6.1,19.495), (4.345,19.79,5.015,20.12), (5.43,19.79,6.1,20.12)])
A(c_sky130_fd_io__amuxsplitv, licon, 6.65, 18.33, 0.17, 0.17, 1, 8, 0, 0.34)
R(c_sky130_fd_io__amuxsplitv, licon, [(4.935,9.19,5.105,9.36), (5.275,9.19,5.445,9.36), (2.22,17.36,2.39,17.53), (2.56,17.36,2.73,17.53), (4.2,17.465,4.37,17.635), (4.57,17.465,4.74,17.635), (4.425,19.245,4.595,19.415), (4.765,19.245,4.935,19.415), (5.51,19.245,5.68,19.415), (5.85,19.245,6.02,19.415), (4.425,19.87,4.595,20.04), (4.765,19.87,4.935,20.04), (5.51,19.87,5.68,20.04), (5.85,19.87,6.02,20.04), (4.2,21.65,4.37,21.82), (4.57,21.65,4.74,21.82)])
R(c_sky130_fd_io__amuxsplitv, li1, [(4.63,7.99,4.8,8.88), (5.51,7.99,5.68,8.88), (4.855,9.19,5.525,9.36), (4.915,9.19,5.445,9.36), (2.14,17.36,2.81,17.53), (2.185,17.36,2.715,17.53), (4.08,17.465,4.86,17.635), (4.1,17.465,4.63,17.635), (5.625,17.82,5.795,18.9), (1.985,17.83,2.155,20.46), (2.865,17.83,3.035,20.46), (6.65,17.885,6.82,21.24), (4.115,17.93,4.285,18.82), (6.65,18.16,6.82,21.125), (4.65,18.215,4.82,18.745), (6.155,18.435,6.325,18.965), (4.345,19.245,5.015,19.415), (4.53,19.245,5.06,19.415), (5.315,19.245,5.845,19.415), (5.43,19.245,6.1,19.415), (4.345,19.87,5.015,20.04), (4.53,19.87,5.06,20.04), (5.43,19.87,6.1,20.04), (5.515,19.87,6.045,20.04), (4.65,20.435,4.82,21.02), (4.115,20.465,4.285,21.355), (5.625,20.49,5.795,21.02), (6.155,20.49,6.325,21.24), (4.08,21.65,4.86,21.82), (4.1,21.65,4.63,21.82)])
A(c_sky130_fd_io__amuxsplitv, mcon, 4.63, 7.99, 0.17, 0.17, 1, 3, 0, 0.36)
A(c_sky130_fd_io__amuxsplitv, mcon, 5.51, 7.99, 0.17, 0.17, 1, 3, 0, 0.36)
A(c_sky130_fd_io__amuxsplitv, mcon, 5.625, 17.82, 0.17, 0.17, 1, 3, 0, 0.455)
A(c_sky130_fd_io__amuxsplitv, mcon, 1.985, 17.83, 0.17, 0.17, 1, 7, 0, 0.41)
A(c_sky130_fd_io__amuxsplitv, mcon, 2.865, 17.83, 0.17, 0.17, 1, 7, 0, 0.41)
A(c_sky130_fd_io__amuxsplitv, mcon, 6.65, 17.885, 0.17, 0.17, 1, 6, 0, 0.4)
A(c_sky130_fd_io__amuxsplitv, mcon, 4.115, 17.93, 0.17, 0.17, 1, 3, 0, 0.36)
A(c_sky130_fd_io__amuxsplitv, mcon, 6.65, 20.28, 0.17, 0.17, 1, 3, 0, 0.395)
A(c_sky130_fd_io__amuxsplitv, mcon, 4.115, 20.465, 0.17, 0.17, 1, 3, 0, 0.36)
R(c_sky130_fd_io__amuxsplitv, mcon, [(4.915,9.19,5.085,9.36), (5.275,9.19,5.445,9.36), (2.185,17.36,2.355,17.53), (2.545,17.36,2.715,17.53), (4.1,17.465,4.27,17.635), (4.46,17.465,4.63,17.635), (4.65,18.215,4.82,18.385), (6.155,18.435,6.325,18.605), (4.65,18.575,4.82,18.745), (6.155,18.795,6.325,18.965), (4.53,19.245,4.7,19.415), (4.89,19.245,5.06,19.415), (5.315,19.245,5.485,19.415), (5.675,19.245,5.845,19.415), (4.53,19.87,4.7,20.04), (4.89,19.87,5.06,20.04), (5.515,19.87,5.685,20.04), (5.875,19.87,6.045,20.04), (4.65,20.435,4.82,20.605), (5.625,20.49,5.795,20.66), (6.155,20.49,6.325,20.66), (4.65,20.85,4.82,21.02), (5.625,20.85,5.795,21.02), (6.155,21.07,6.325,21.24), (4.1,21.65,4.27,21.82), (4.46,21.65,4.63,21.82)])
R(c_sky130_fd_io__amuxsplitv, met1_pin, [(2.535,0.335,4.2,0.775), (0.785,11.905,1.235,12.09), (0.815,12.32,1.135,12.505), (0.83,12.735,1.285,12.905), (1.77,13.21,2.705,13.705), (0.765,15.13,1.155,15.305), (3.66,20.5,3.92,21.205), (1.415,21.135,2.025,21.32)])
R(c_sky130_fd_io__amuxsplitv, met1, [(4.21,0.37,4.705,1.01), (4.21,0.37,4.7,1.01), (4.845,1.15,5.105,1.79), (4.63,2.42,6.885,2.58), (6.625,2.42,6.885,3.06), (4.225,6.035,4.705,7.165), (4.225,6.035,4.83,8.64), (4.6,7.93,4.83,8.94), (5.405,7.93,5.59,8.94), (5.48,7.93,5.71,8.94), (5.405,7.97,5.665,8.61), (4.625,9.145,5.265,9.405), (5.23,9.145,5.505,9.405), (4.855,9.16,5.505,9.39), (0.705,11.87,6.005,12.13), (2.44,11.87,3.08,12.13), (5.025,11.87,5.665,12.13), (5.285,12.29,6.98,12.55), (5.285,12.69,6.98,12.95), (5.285,13.15,6.945,14.15), (5.505,13.15,6.085,14.15), (3.62,14.29,4.885,14.55), (0.705,15.09,5.285,15.35), (4.645,15.09,5.285,15.35), (3.24,17.005,3.88,17.265), (2.125,17.315,2.885,17.575), (2.125,17.33,2.775,17.56), (3.605,17.435,4.085,21.85), (4.04,17.435,4.69,17.665), (5.505,17.47,6.085,18.11), (4.055,17.645,4.315,17.87), (5.595,17.76,5.825,18.96), (1.625,17.77,2.065,18.42), (1.955,17.77,2.185,20.52), (2.82,17.77,3.08,20.52), (2.835,17.77,3.065,20.52), (6.62,17.825,6.85,21.3), (2.82,17.84,3.08,18.48), (4.085,17.87,4.315,18.88), (4.605,18.155,4.865,18.795), (4.62,18.155,4.85,18.805), (6.125,18.375,6.355,19.025), (4.605,18.74,4.865,18.805), (4.47,19.2,5.28,19.46), (5.255,19.2,5.905,19.46), (4.47,19.215,5.12,19.445), (5.255,19.215,5.905,19.445), (4.225,19.84,4.865,20.1), (4.225,19.84,5.51,20.1), (4.47,19.84,5.12,20.07), (5.455,19.84,6.105,20.07), (5.455,19.84,6.105,20.1), (4.62,20.375,4.85,21.08), (4.78,20.375,5.685,21.08), (5.58,20.375,5.84,21.015), (1.955,20.38,2.185,21.195), (4.085,20.405,4.315,21.415), (5.595,20.43,5.825,21.08), (6.125,20.43,6.355,21.3), (5.58,20.89,5.84,21.08), (0.555,21.11,3.405,21.645), (4.085,21.415,4.315,21.625), (4.04,21.62,4.69,21.85)])
P(c_sky130_fd_io__amuxsplitv, met1, [(4.315,17.665),(4.315,17.835),(4.485,17.665)],
  [(4.085,18.88),(4.085,19.05),(4.255,18.88)],
  [(4.085,20.405),(4.085,20.235),(4.255,20.405)],
  [(4.315,21.62),(4.315,21.45),(4.485,21.62)],
  [(4.845,1.59),(4.845,1.42),(4.675,1.59)],
  [(6.625,2.58),(6.625,2.75),(6.455,2.58)],
  [(4.83,7.165),(4.83,7.335),(5,7.165)],
  [(6.85,18.11),(6.62,18.11),(6.62,18.28),(6.45,18.11),(5.995,18.11),(5.825,18.28),(5.825,18.11),(5.595,18.11),(5.595,18.28),(5.425,18.11),(5.31,18.11),(5.31,17.47),(6.85,17.47)],
  [(6.85,21.3),(6.215,21.3),(6.215,20.43),(6.45,20.43),(6.62,20.26),(6.62,20.43),(6.85,20.43)],
  [(6.37,20.1),(6.055,20.1),(6.055,19.84),(5.94,19.84),(6.11,19.67),(6.11,18.375),(6.37,18.375)],
  [(4.6,8.64),(4.6,8.81),(4.43,8.64)],
  [(3.925,2.01),(4.16,2.01),(4.58,1.59),(5.105,1.59),(5.105,1.81),(4.69,1.81),(4.26,2.24),(3.925,2.24)],
  [(1.635,17.77),(1.635,17.6),(1.805,17.77)],
  [(1.955,18.42),(1.955,18.59),(1.785,18.42)],
  [(1.955,21.11),(1.955,20.94),(1.785,21.11)],
  [(2.185,21.11),(2.185,20.94),(2.355,21.11)],
  [(2.77,17.315),(2.86,17.315),(3.17,17.005),(3.795,17.005),(3.795,17.265),(3.28,17.265),(2.97,17.575),(2.77,17.575)])
A(c_sky130_fd_io__amuxsplitv, via, 4.39, 6.12, 0.15, 0.15, 1, 3, 0, 0.405)
A(c_sky130_fd_io__amuxsplitv, via, 5.56, 13.235, 0.15, 0.15, 1, 3, 0, 0.34)
A(c_sky130_fd_io__amuxsplitv, via, 5.88, 13.235, 0.15, 0.15, 1, 3, 0, 0.34)
R(c_sky130_fd_io__amuxsplitv, via, [(4.38,0.455,4.53,0.605), (4.38,0.775,4.53,0.925), (4.9,1.235,5.05,1.385), (4.9,1.555,5.05,1.705), (6.68,2.505,6.83,2.655), (6.68,2.825,6.83,2.975), (5.46,8.055,5.61,8.205), (5.46,8.375,5.61,8.525), (4.71,9.2,4.86,9.35), (5.03,9.2,5.18,9.35), (2.525,11.925,2.675,12.075), (2.845,11.925,2.995,12.075), (5.11,11.925,5.26,12.075), (5.43,11.925,5.58,12.075), (3.705,14.345,3.855,14.495), (4.18,14.345,4.33,14.495), (4.65,14.345,4.8,14.495), (4.73,15.145,4.88,15.295), (5.05,15.145,5.2,15.295), (3.325,17.06,3.475,17.21), (3.645,17.06,3.795,17.21), (5.56,17.555,5.71,17.705), (5.88,17.555,6.03,17.705), (5.56,17.875,5.71,18.025), (5.88,17.875,6.03,18.025), (2.875,17.925,3.025,18.075), (4.66,18.24,4.81,18.39), (2.875,18.245,3.025,18.395), (4.66,18.56,4.81,18.71), (5.34,19.255,5.49,19.405), (5.67,19.255,5.82,19.405), (4.31,19.895,4.46,20.045), (4.63,19.895,4.78,20.045), (5.54,19.895,5.69,20.045), (5.87,19.895,6.02,20.045), (5.635,20.46,5.785,20.61), (5.635,20.78,5.785,20.93)])
R(c_sky130_fd_io__amuxsplitv, met2, [(4.21,0.37,4.705,7.165), (4.21,0.37,4.7,1.01), (4.845,1.15,5.105,1.79), (5.06,1.15,6.485,1.41), (6.625,2.42,6.885,3.06), (4.225,6.035,4.705,7.165), (5.405,7.97,5.665,8.61), (5.405,7.97,5.665,12.13), (4.625,9.145,5.265,9.405), (4.625,9.2,4.885,14.55), (2.44,11.87,3.08,12.13), (2.82,11.87,3.08,17.865), (5.025,11.87,5.665,12.13), (5.505,13.15,6.085,14.15), (5.505,13.705,6.085,18.11), (3.62,14.29,4.885,14.55), (3.62,14.29,3.88,17.265), (4.645,15.09,5.285,15.35), (5.025,15.09,5.285,19.46), (3.24,17.005,3.88,17.265), (5.505,17.47,6.085,18.11), (2.82,17.84,3.08,18.48), (4.605,18.155,4.865,18.795), (4.605,18.71,4.865,20.005), (5.025,19.2,5.275,19.46), (5.255,19.2,5.905,19.46), (4.225,19.84,4.865,20.1), (5.455,19.84,6.105,20.1), (5.58,20.375,5.84,21.015)])
P(c_sky130_fd_io__amuxsplitv, met2, [(4.605,19.84),(4.605,19.67),(4.435,19.84)],
  [(6.625,20.375),(6.625,20.205),(6.455,20.375)],
  [(6.225,19.84),(6.225,19.67),(6.055,19.84)],
  [(6.225,1.41),(6.225,1.58),(6.055,1.41)],
  [(5.105,1.41),(5.105,1.58),(5.275,1.41)],
  [(2.82,12.13),(2.82,12.3),(2.65,12.13)],
  [(4.885,9.405),(4.885,9.575),(5.055,9.405)],
  [(5.405,11.87),(5.405,11.7),(5.235,11.87)],
  [(4.625,14.29),(4.625,14.12),(4.455,14.29)],
  [(3.88,14.55),(3.88,14.72),(4.05,14.55)],
  [(5.025,15.35),(5.025,15.52),(4.855,15.35)],
  [(3.62,17.005),(3.62,16.835),(3.45,17.005)],
  [(5.285,19.2),(5.285,19.03),(5.455,19.2)],
  [(5.84,20.635),(5.84,20.805),(6.01,20.635)],
  [(5.805,20.375),(6.625,20.375),(6.625,2.42),(6.885,2.42),(6.885,20.635),(5.805,20.635)],
  [(5.59,19.84),(6.225,19.84),(6.225,1.15),(6.485,1.15),(6.485,20.1),(5.59,20.1)])
R(c_sky130_fd_io__amuxsplitv, hvi, [(0.175,17.44,0.31,21.645)])
R(c_sky130_fd_io__amuxsplitv, nsdm, [(4.67,0.67,4.72,1.93), (4.395,7.82,4.47,9.08), (6.52,18.03,6.95,21.255)])
R(c_sky130_fd_io__amuxsplitv, psdm, [(3.95,17.335,4.99,17.765), (3.95,21.52,4.99,21.95)])
R(c_sky130_fd_io__amuxsplitv, npc, [(4.835,9.09,5.545,9.46), (2.12,17.26,2.83,17.63), (4.325,19.145,5.035,19.515), (5.41,19.145,6.12,19.515), (5.41,19.485,6.12,19.8), (4.325,19.505,5.035,19.775), (4.325,19.77,5.035,20.14), (5.41,19.77,6.12,20.14)])
c_sky130_fd_io__amuxsplitv.add(gdstk.Reference(sky130_fd_io__amuxsplitv, (0.1,0)))
c_sky130_fd_io__amuxsplitv.add(gdstk.Reference(pfet_cdns_5595914180824, (5.85,19.005), x_reflection=True))
c_sky130_fd_io__amuxsplitv.add(gdstk.Reference(pfet_cdns_5595914180824, (5.85,21.28), x_reflection=True))
c_sky130_fd_io__amuxsplitv.add(gdstk.Reference(pfet_cdns_5595914180813, (2.21,17.77)))
c_sky130_fd_io__amuxsplitv.add(gdstk.Reference(nfet_cdns_5595914180817, (5.455,7.95), rotation=pi, x_reflection=True))
c_sky130_fd_io__amuxsplitv.add(gdstk.Reference(nfet_cdns_5595914180825, (4.595,18.005), rotation=pi, x_reflection=True))
c_sky130_fd_io__amuxsplitv.add(gdstk.Reference(nfet_cdns_5595914180825, (4.345,21.28), x_reflection=True))
c_sky130_fd_io__amuxsplitv.add(gdstk.Label('vssd', (3.79,20.855), layer=68, texttype=5))
c_sky130_fd_io__amuxsplitv.add(gdstk.Label('hold', (0.975,12.415), layer=68, texttype=5))
c_sky130_fd_io__amuxsplitv.add(gdstk.Label('in_lv', (0.96,15.22), layer=68, texttype=5))
c_sky130_fd_io__amuxsplitv.add(gdstk.Label('reset', (1.055,12.82), layer=68, texttype=5))
c_sky130_fd_io__amuxsplitv.add(gdstk.Label('out_h', (1.01,12), layer=68, texttype=5))
c_sky130_fd_io__amuxsplitv.add(gdstk.Label('vccd', (2.235,13.46), layer=68, texttype=5))
c_sky130_fd_io__amuxsplitv.add(gdstk.Label('vdda', (1.72,21.23), layer=68, texttype=5))
c_sky130_fd_io__amuxsplitv.add(gdstk.Label('vssa', (3.37,0.555), layer=68, texttype=5))

lib.write_gds('sky130_fd_io__amuxsplitv2_switch_s0.gds')
